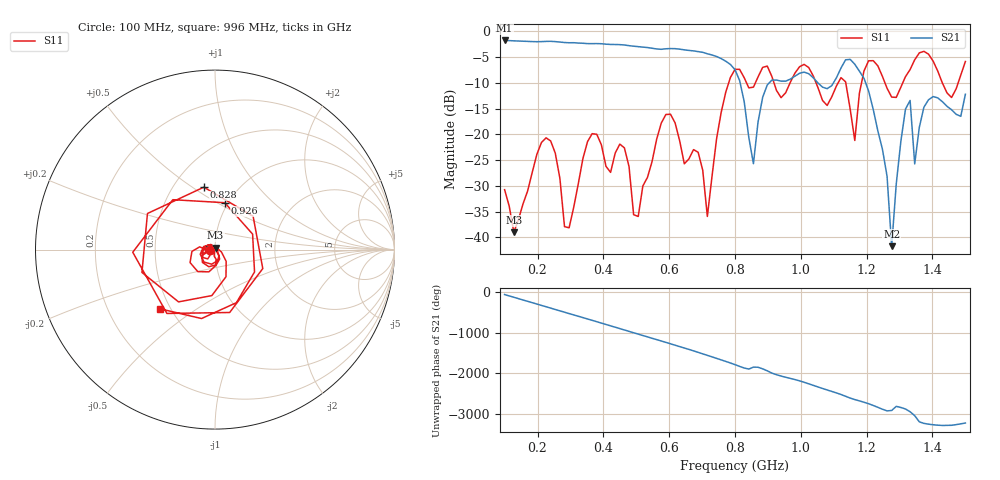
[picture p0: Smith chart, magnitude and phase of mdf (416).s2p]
! NanoVNA-App
! Date: 2025-09-25 15:41:39
! Start: 100MHz Stop: 1,5GHz Points: 101
! S-Parameter data: F S11 S21 S12 S22
# Hz S RI R 50
!  Frequency  S11_Real  S11_Imag  S21_Real  S21_Imag  S12_Real  S12_Imag  S22_Real  S22_Imag
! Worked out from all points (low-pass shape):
!   101 points, 100 MHz to 1.5 GHz, reference 50 ohm
!   highest |S21| = -1.80 dB at 100 MHz (marker M1); lowest = -41.7 dB at 1.276 GHz (marker M2)
!   |S21| within 3 dB of the highest: start of sweep to 739 MHz
!   lowest |S11| = -39.0 dB at 128 MHz (marker M3), VSWR 1.02, Z = 50.3 + j1.08 ohm
!   |S11| at or under -10 dB: start of sweep to 781 MHz; 1.046 GHz to 1.114 GHz (67.44 MHz wide, 6.25 % of centre); 1.255 GHz to 1.31 GHz (54.36 MHz wide, 4.24 % of centre) (the widest 3 of 7)
!   S12 and S22 are empty: the file has one direction only
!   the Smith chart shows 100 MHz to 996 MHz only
!   S11 on the Smith chart (normalised r, x): 100 MHz: 0.94, -0.01; 828 MHz: 0.70, +0.56; 926 MHz: 0.97, +0.54; 996 MHz: 0.44, -0.36
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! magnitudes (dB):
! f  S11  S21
! 100 MHz  -30.7  -1.8
! 128 MHz  -39.0  -1.9
! 212 MHz  -21.6  -2.0
! 282 MHz  -37.9  -2.2
! 338 MHz  -24.7  -2.3
! 464 MHz  -22.6  -2.7
! 506 MHz  -35.9  -3.0
! 576 MHz  -17.8  -3.5
! 688 MHz  -23.5  -4.0
! 716 MHz  -35.9  -4.4
! 800 MHz  -7.4  -7.5
! 828 MHz  -9.0  -13.7
! 856 MHz  -10.9  -25.7
! 926 MHz  -11.5  -9.5
! 996 MHz  -6.9  -8.2
! 1.038 GHz  -8.7  -9.0
! 1.164 GHz  -21.2  -6.4
! 1.192 GHz  -7.7  -9.2
! 1.276 GHz  -12.8  -41.7
! 1.318 GHz  -8.8  -15.1
! 1.346 GHz  -5.5  -25.7
! 1.5 GHz  -5.9  -12.2
